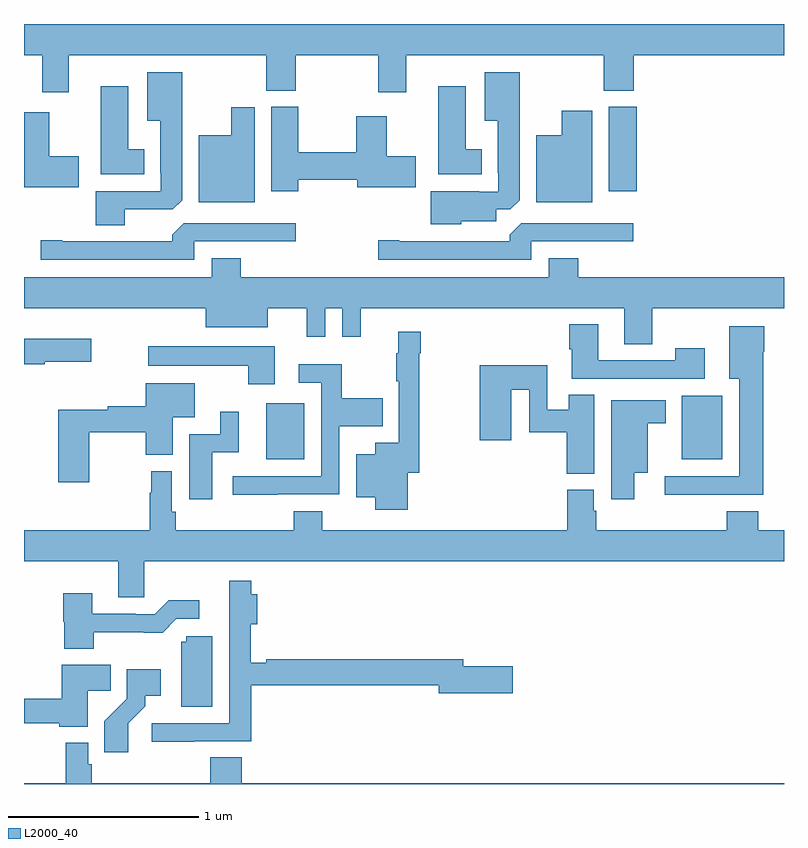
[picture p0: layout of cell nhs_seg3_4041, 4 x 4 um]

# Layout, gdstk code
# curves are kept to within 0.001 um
import gdstk
lib = gdstk.Library(unit=1e-6, precision=1e-09)
def R(c, l, rs):  # rectangles x0, y0, x1, y1
    for r in rs: c.add(gdstk.rectangle(r[:2], r[2:], *l))
def P(c, l, *ps):  # polygons
    for p in ps: c.add(gdstk.Polygon(p, *l))
L2000_40 = (2000, 40)

nhs_seg3_4041 = lib.new_cell('nhs_seg3_4041')
R(nhs_seg3_4041, L2000_40, [(324.275,712.109,324.475,712.405), (326.462,712.109,326.674,712.444), (326.078,713.52,326.225,713.964)])
P(nhs_seg3_4041, L2000_40, [(323.236,714.236),(324.274,714.236),(324.274,714.049),(324.429,714.049),(324.429,714.236),(324.865,714.236),(324.865,714.042),(325.012,714.042),(325.012,714.236),(326.05,714.236),(326.05,714.049),(326.21,714.049),(326.21,714.236),(327,714.236),(327,714.4),(323,714.4),(323,714.236),(323.096,714.236),(323.096,714.042),(323.236,714.042)],
  [(325.302,713.363),(325.486,713.363),(325.486,713.424),(325.56,713.424),(325.609,713.473),(325.609,714.145),(325.424,714.145),(325.424,713.891),(325.493,713.891),(325.493,713.617),(325.497,713.617),(325.497,713.517),(325.397,713.517),(325.397,713.521),(325.142,713.521),(325.142,713.345),(325.302,713.345)],
  [(323.53,713.424),(323.784,713.424),(323.833,713.473),(323.833,714.145),(323.648,714.145),(323.648,713.891),(323.717,713.891),(323.717,713.617),(323.721,713.617),(323.721,713.52),(323.378,713.52),(323.378,713.341),(323.53,713.341)],
  [(325.408,713.74),(325.324,713.74),(325.324,714.073),(325.181,714.073),(325.181,713.609),(325.408,713.609)],
  [(323.632,713.74),(323.548,713.74),(323.548,714.073),(323.405,714.073),(323.405,713.609),(323.632,713.609)],
  [(324.444,713.579),(324.755,713.579),(324.755,713.54),(325.063,713.54),(325.063,713.703),(324.91,713.703),(324.91,713.914),(324.748,713.914),(324.748,713.726),(324.444,713.726),(324.444,713.964),(324.302,713.964),(324.302,713.52),(324.444,713.52)],
  [(324.214,713.962),(324.092,713.962),(324.092,713.815),(323.921,713.815),(323.921,713.462),(324.214,713.462)],
  [(325.99,713.944),(325.829,713.944),(325.829,713.815),(325.697,713.815),(325.697,713.462),(325.99,713.462)],
  [(323.287,713.703),(323.134,713.703),(323.134,713.935),(323,713.935),(323,713.54),(323.287,713.54)],
  [(325.671,713.256),(326.206,713.256),(326.206,713.352),(325.617,713.352),(325.556,713.29),(325.556,713.256),(324.976,713.256),(324.976,713.261),(324.864,713.261),(324.864,713.16),(325.671,713.16)],
  [(323.895,713.256),(324.43,713.256),(324.43,713.352),(323.841,713.352),(323.78,713.29),(323.78,713.256),(323.2,713.256),(323.2,713.261),(323.088,713.261),(323.088,713.16),(323.895,713.16)],
  [(326.307,712.904),(327,712.904),(327,713.068),(325.916,713.068),(325.916,713.167),(325.763,713.167),(325.763,713.068),(324.14,713.068),(324.14,713.167),(323.987,713.167),(323.987,713.068),(323,713.068),(323,712.904),(323.957,712.904),(323.957,712.805),(324.283,712.805),(324.283,712.904),(324.488,712.904),(324.488,712.755),(324.585,712.755),(324.585,712.904),(324.675,712.904),(324.675,712.755),(324.773,712.755),(324.773,712.904),(326.159,712.904),(326.159,712.714),(326.307,712.714)],
  [(326.584,712.693),(326.428,712.693),(326.428,712.629),(326.023,712.629),(326.023,712.819),(325.871,712.819),(325.871,712.687),(325.883,712.687),(325.883,712.533),(326.584,712.533)],
  [(326.891,712.674),(326.896,712.674),(326.896,712.81),(326.711,712.81),(326.711,712.532),(326.765,712.532),(326.765,712.02),(326.373,712.02),(326.373,711.923),(326.891,711.923)],
  [(325.019,712.037),(325.081,712.037),(325.081,712.667),(325.088,712.667),(325.088,712.78),(324.971,712.78),(324.971,712.667),(324.96,712.667),(324.96,712.519),(324.972,712.519),(324.972,712.195),(324.848,712.195),(324.848,712.135),(324.749,712.135),(324.749,711.908),(324.848,711.908),(324.848,711.843),(325.019,711.843)],
  [(323.109,712.622),(323.353,712.622),(323.353,712.744),(323,712.744),(323,712.61),(323.109,712.61)],
  [(324.319,712.705),(323.655,712.705),(323.655,712.601),(324.179,712.601),(324.179,712.503),(324.319,712.503)],
  [(324.335,711.924),(324.66,711.924),(324.66,712.283),(324.887,712.283),(324.887,712.431),(324.673,712.431),(324.673,712.609),(324.447,712.609),(324.447,712.512),(324.564,712.512),(324.564,712.02),(324.099,712.02),(324.099,711.923),(324.335,711.923)],
  [(326.002,712.448),(325.868,712.448),(325.868,712.369),(325.755,712.369),(325.755,712.603),(325.399,712.603),(325.399,712.209),(325.564,712.209),(325.564,712.474),(325.659,712.474),(325.659,712.252),(325.856,712.252),(325.856,712.033),(326.002,712.033)],
  [(323.344,712.252),(323.642,712.252),(323.642,712.134),(323.782,712.134),(323.782,712.331),(323.899,712.331),(323.899,712.51),(323.642,712.51),(323.642,712.388),(323.44,712.388),(323.44,712.371),(323.179,712.371),(323.179,711.987),(323.344,711.987)],
  [(326.212,712.037),(326.284,712.037),(326.284,712.298),(326.377,712.298),(326.377,712.42),(326.09,712.42),(326.09,711.9),(326.212,711.9)],
  [(323.992,712.146),(324.13,712.146),(324.13,712.36),(324.032,712.36),(324.032,712.242),(323.87,712.242),(323.87,711.9),(323.992,711.9)],
  [(323.634,711.572),(327,711.572),(327,711.736),(326.864,711.736),(326.864,711.835),(326.699,711.835),(326.699,711.736),(326.012,711.736),(326.012,711.837),(325.999,711.837),(325.999,711.948),(325.859,711.948),(325.859,711.736),(324.571,711.736),(324.571,711.835),(324.419,711.835),(324.419,711.736),(323.798,711.736),(323.798,711.832),(323.778,711.832),(323.778,712.045),(323.67,712.045),(323.67,711.932),(323.662,711.932),(323.662,711.736),(323,711.736),(323,711.572),(323.495,711.572),(323.495,711.382),(323.634,711.382)],
  [(323.897,710.625),(324.197,710.625),(324.197,710.92),(325.184,710.92),(325.184,710.878),(325.573,710.878),(325.573,711.02),(325.312,711.02),(325.312,711.056),(324.274,711.056),(324.274,711.038),(324.193,711.038),(324.193,711.242),(324.227,711.242),(324.227,711.4),(324.197,711.4),(324.197,711.469),(324.08,711.469),(324.08,711.246),(324.081,711.246),(324.081,710.721),(323.673,710.721),(323.673,710.623),(323.897,710.623)],
  [(323.367,711.198),(323.729,711.197),(323.802,711.27),(323.923,711.27),(323.923,711.367),(323.761,711.367),(323.688,711.294),(323.588,711.294),(323.588,711.297),(323.359,711.297),(323.359,711.403),(323.207,711.403),(323.207,711.255),(323.212,711.255),(323.212,711.113),(323.367,711.113)],
  [(323.992,711.177),(323.853,711.177),(323.853,711.15),(323.828,711.15),(323.828,710.806),(323.992,710.806)],
  [(323.335,710.89),(323.456,710.89),(323.456,711.028),(323.198,711.028),(323.198,710.849),(323,710.849),(323,710.721),(323.186,710.721),(323.186,710.702),(323.335,710.702)],
  [(323.548,710.719),(323.638,710.809),(323.638,710.864),(323.719,710.864),(323.719,711.004),(323.541,711.004),(323.541,710.849),(323.422,710.73),(323.422,710.568),(323.548,710.568)],
  [(327,710.404),(324.146,710.404),(324.146,710.54),(323.981,710.54),(323.981,710.404),(323.357,710.404),(323.357,710.505),(323.337,710.505),(323.337,710.617),(323.221,710.617),(323.221,710.404),(323,710.404),(323,710.4),(327,710.4)])

lib.write_gds('nhs_seg3_4041.gds')
